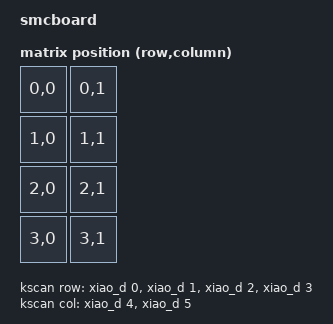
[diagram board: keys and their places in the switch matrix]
#include <dt-bindings/zmk/matrix_transform.h>

/*
&xiao_spi {
	status = "okay";

	cs-gpios = <&xiao_d 7 GPIO_ACTIVE_LOW>, <&xiao_d 6 GPIO_ACTIVE_HIGH>;
	expander: mcp23sxx@0 {
		compatible = "microchip,mcp23sxx";
		status = "okay";
		gpio-controller;
		spi-max-frequency = <800000>;
		reg = <0>;
		label = "MCP23S08";
		#gpio-cells = <2>;
		ngpios = <8>;
	};

};
*/

&xiao_serial { status = "disabled"; };

/ {
	model = "smcboard";
	compatible = "smchunn,smcboard";

	chosen {
		zmk,kscan = &kscan;
		zmk,matrix_transform = &transform;
	};

	transform: transform {
		compatible = "zmk,matrix-transform";
		rows = <4>;
		columns = <2>;

		map = <
	RC(0,0) RC(0,1) 
	RC(1,0) RC(1,1) 
	RC(2,0) RC(2,1) 
	RC(3,0) RC(3,1)
	>;
	};
	
	kscan: kscan {
		compatible = "zmk,kscan-gpio-matrix";
		label = "KSCAN";

		debounce-press-ms = <1>;
		debounce-release-ms = <5>;

		diode-direction = "col2row";

		col-gpios
			= <&xiao_d 4   (GPIO_ACTIVE_HIGH)>
			, <&xiao_d 5   (GPIO_ACTIVE_HIGH)>
      ;

			// , <&expander 0 (GPIO_ACTIVE_HIGH)>
			// , <&expander 1 (GPIO_ACTIVE_HIGH)>
			// , <&expander 2 (GPIO_ACTIVE_HIGH)>
			// , <&expander 3 (GPIO_ACTIVE_HIGH)>
			// , <&expander 5 (GPIO_ACTIVE_HIGH)>
			// , <&expander 4 (GPIO_ACTIVE_HIGH)>
			// , <&expander 7 (GPIO_ACTIVE_HIGH)>
			// , <&expander 6 (GPIO_ACTIVE_HIGH)>
			
		row-gpios
			= <&xiao_d 0  (GPIO_ACTIVE_HIGH | GPIO_PULL_DOWN)>
			, <&xiao_d 1  (GPIO_ACTIVE_HIGH | GPIO_PULL_DOWN)>
			, <&xiao_d 2 (GPIO_ACTIVE_HIGH | GPIO_PULL_DOWN)>
			, <&xiao_d 3 (GPIO_ACTIVE_HIGH | GPIO_PULL_DOWN)>
			;
	};
};

